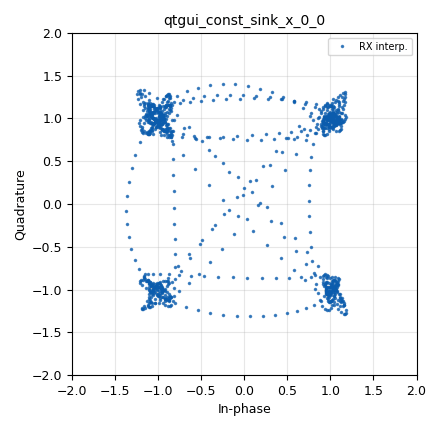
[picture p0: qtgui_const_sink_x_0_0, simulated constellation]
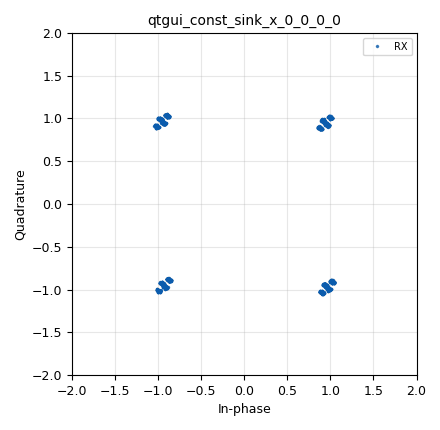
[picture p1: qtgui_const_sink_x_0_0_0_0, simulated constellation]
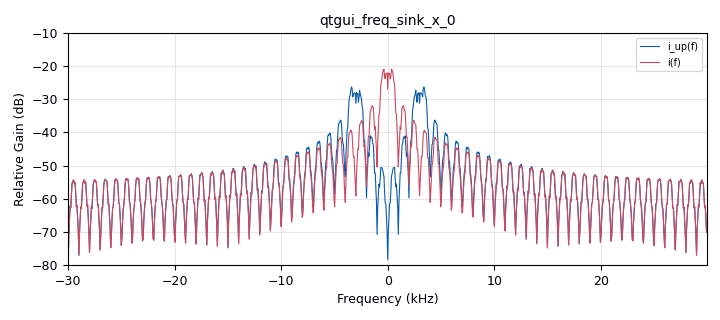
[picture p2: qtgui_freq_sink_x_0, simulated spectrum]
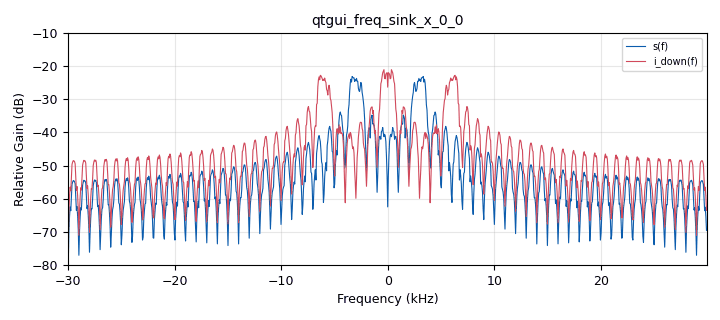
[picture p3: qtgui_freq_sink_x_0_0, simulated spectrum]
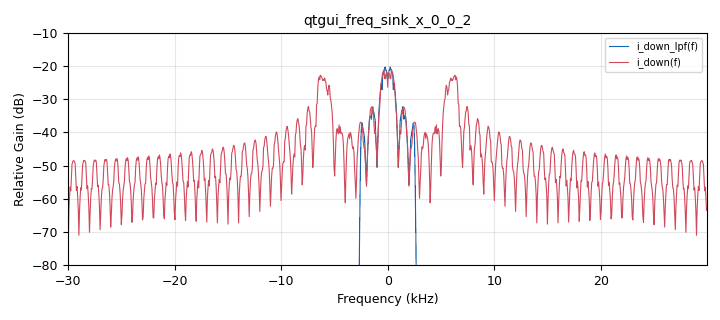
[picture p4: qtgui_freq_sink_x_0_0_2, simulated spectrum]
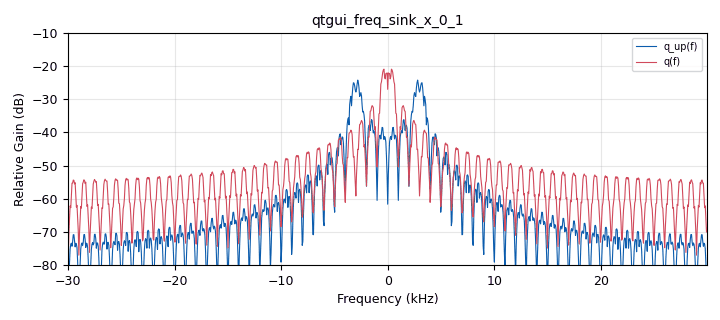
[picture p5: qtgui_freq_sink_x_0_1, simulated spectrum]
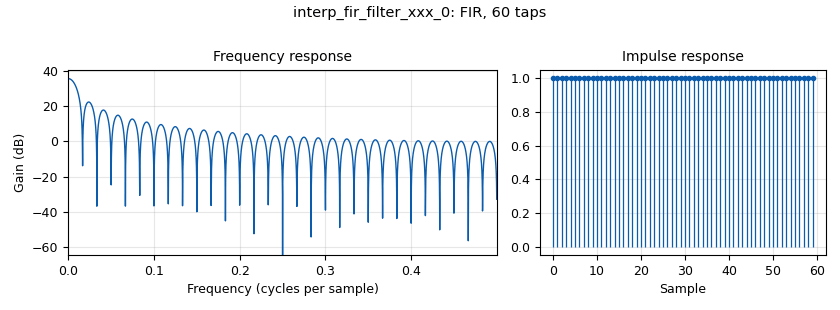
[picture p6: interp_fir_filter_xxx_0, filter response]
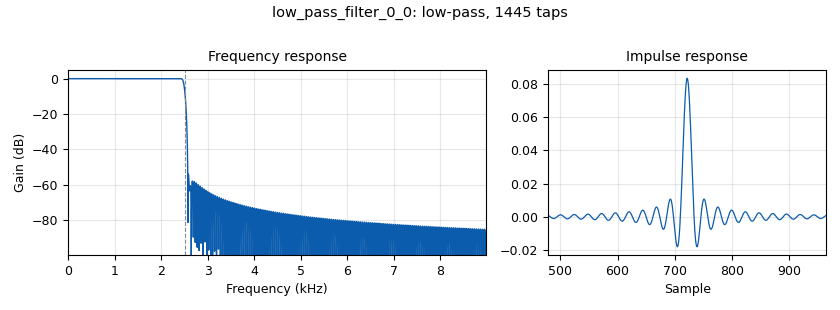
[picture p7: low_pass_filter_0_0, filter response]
<?xml version='1.0' encoding='utf-8'?>
<?grc format='1' created='3.7.11'?>
<flow_graph>
<block>
<key>options</key>
<param><key>id</key><value>top_block</value></param>
<param><key>generate_options</key><value>qt_gui</value></param>
<param><key>title</key><value>Complex envelope modem</value></param>
</block>
<block>
<key>variable_qtgui_range</key>
<param><key>id</key><value>delay_samples</value></param>
<param><key>value</key><value>12</value></param>
<param><key>orient</key><value>Qt.Horizontal</value></param>
<param><key>start</key><value>-200</value></param>
<param><key>step</key><value>1</value></param>
<param><key>stop</key><value>200</value></param>
<param><key>rangeType</key><value>int</value></param>
</block>
<block>
<key>variable_qtgui_range</key>
<param><key>id</key><value>f_cutoff</value></param>
<param><key>value</key><value>2500</value></param>
<param><key>orient</key><value>Qt.Horizontal</value></param>
<param><key>start</key><value>0</value></param>
<param><key>step</key><value>1</value></param>
<param><key>stop</key><value>10000</value></param>
</block>
<block>
<key>variable_qtgui_range</key>
<param><key>id</key><value>fc</value></param>
<param><key>value</key><value>3000</value></param>
<param><key>orient</key><value>Qt.Horizontal</value></param>
<param><key>start</key><value>0</value></param>
<param><key>step</key><value>1</value></param>
<param><key>stop</key><value>20000</value></param>
</block>
<block>
<key>variable_qtgui_range</key>
<param><key>id</key><value>noise_amplitude</value></param>
<param><key>value</key><value>0.1</value></param>
<param><key>label</key><value>Noise amplitude</value></param>
<param><key>orient</key><value>Qt.Horizontal</value></param>
<param><key>start</key><value>0</value></param>
<param><key>step</key><value>0.01</value></param>
<param><key>stop</key><value>1</value></param>
</block>
<block>
<key>variable</key>
<param><key>id</key><value>samp_rate</value></param>
<param><key>value</key><value>60000</value></param>
</block>
<block>
<key>variable_low_pass_filter_taps</key>
<param><key>id</key><value>variable_low_pass_filter_taps_0</value></param>
<param><key>cutoff_freq</key><value>f_cutoff</value></param>
<param><key>_enabled</key><value>0</value></param>
<param><key>gain</key><value>1.0</value></param>
<param><key>samp_rate</key><value>samp_rate</value></param>
<param><key>width</key><value>100</value></param>
<param><key>win</key><value>firdes.WIN_HAMMING</value></param>
</block>
<block>
<key>analog_const_source_x</key>
<param><key>id</key><value>analog_const_source_x_0</value></param>
<param><key>const</key><value>60</value></param>
<param><key>type</key><value>float</value></param>
</block>
<block>
<key>analog_random_source_x</key>
<param><key>id</key><value>analog_random_source_x_0</value></param>
<param><key>max</key><value>4</value></param>
<param><key>min</key><value>0</value></param>
<param><key>num_samps</key><value>1024*1</value></param>
<param><key>type</key><value>int</value></param>
<param><key>repeat</key><value>True</value></param>
</block>
<block>
<key>analog_sig_source_x</key>
<param><key>id</key><value>analog_sig_source_x_0</value></param>
<param><key>amp</key><value>1</value></param>
<param><key>freq</key><value>fc</value></param>
<param><key>offset</key><value>0</value></param>
<param><key>type</key><value>float</value></param>
<param><key>samp_rate</key><value>samp_rate</value></param>
<param><key>waveform</key><value>analog.GR_COS_WAVE</value></param>
</block>
<block>
<key>analog_sig_source_x</key>
<param><key>id</key><value>analog_sig_source_x_0_0</value></param>
<param><key>amp</key><value>-1</value></param>
<param><key>freq</key><value>fc</value></param>
<param><key>offset</key><value>0</value></param>
<param><key>type</key><value>float</value></param>
<param><key>samp_rate</key><value>samp_rate</value></param>
<param><key>waveform</key><value>analog.GR_SIN_WAVE</value></param>
</block>
<block>
<key>analog_sig_source_x</key>
<param><key>id</key><value>analog_sig_source_x_0_0_0</value></param>
<param><key>amp</key><value>-2</value></param>
<param><key>freq</key><value>fc</value></param>
<param><key>offset</key><value>0</value></param>
<param><key>type</key><value>float</value></param>
<param><key>samp_rate</key><value>samp_rate</value></param>
<param><key>waveform</key><value>analog.GR_SIN_WAVE</value></param>
</block>
<block>
<key>analog_sig_source_x</key>
<param><key>id</key><value>analog_sig_source_x_0_1</value></param>
<param><key>amp</key><value>2</value></param>
<param><key>freq</key><value>fc</value></param>
<param><key>offset</key><value>0</value></param>
<param><key>type</key><value>float</value></param>
<param><key>samp_rate</key><value>samp_rate</value></param>
<param><key>waveform</key><value>analog.GR_COS_WAVE</value></param>
</block>
<block>
<key>blocks_abs_xx</key>
<param><key>id</key><value>blocks_abs_xx_0</value></param>
<param><key>_enabled</key><value>2</value></param>
<param><key>type</key><value>float</value></param>
</block>
<block>
<key>blocks_abs_xx</key>
<param><key>id</key><value>blocks_abs_xx_0_0</value></param>
<param><key>_enabled</key><value>2</value></param>
<param><key>type</key><value>float</value></param>
</block>
<block>
<key>blocks_abs_xx</key>
<param><key>id</key><value>blocks_abs_xx_0_0_0</value></param>
<param><key>_enabled</key><value>2</value></param>
<param><key>type</key><value>float</value></param>
</block>
<block>
<key>blocks_abs_xx</key>
<param><key>id</key><value>blocks_abs_xx_0_1</value></param>
<param><key>_enabled</key><value>2</value></param>
<param><key>type</key><value>float</value></param>
</block>
<block>
<key>blocks_add_xx</key>
<param><key>id</key><value>blocks_add_xx_1</value></param>
<param><key>type</key><value>float</value></param>
</block>
<block>
<key>blocks_add_xx</key>
<param><key>id</key><value>blocks_add_xx_1_0</value></param>
<param><key>type</key><value>float</value></param>
</block>
<block>
<key>blocks_add_xx</key>
<param><key>id</key><value>blocks_add_xx_1_0_0</value></param>
<param><key>type</key><value>float</value></param>
</block>
<block>
<key>blocks_add_xx</key>
<param><key>id</key><value>blocks_add_xx_1_0_0_0</value></param>
<param><key>type</key><value>float</value></param>
</block>
<block>
<key>blocks_add_xx</key>
<param><key>id</key><value>blocks_add_xx_1_0_0_1</value></param>
<param><key>type</key><value>float</value></param>
</block>
<block>
<key>blocks_argmax_xx</key>
<param><key>id</key><value>blocks_argmax_xx_0</value></param>
<param><key>type</key><value>float</value></param>
<param><key>num_inputs</key><value>4</value></param>
</block>
<block>
<key>blocks_complex_to_float</key>
<param><key>id</key><value>blocks_complex_to_float_0</value></param>
</block>
<block>
<key>blocks_complex_to_float</key>
<param><key>id</key><value>blocks_complex_to_float_0_0_0</value></param>
</block>
<block>
<key>blocks_complex_to_real</key>
<param><key>id</key><value>blocks_complex_to_real_0</value></param>
</block>
<block>
<key>blocks_complex_to_real</key>
<param><key>id</key><value>blocks_complex_to_real_0_0</value></param>
</block>
<block>
<key>blocks_complex_to_real</key>
<param><key>id</key><value>blocks_complex_to_real_0_1</value></param>
</block>
<block>
<key>blocks_divide_xx</key>
<param><key>id</key><value>blocks_divide_xx_0</value></param>
<param><key>type</key><value>float</value></param>
</block>
<block>
<key>blocks_divide_xx</key>
<param><key>id</key><value>blocks_divide_xx_0_0</value></param>
<param><key>type</key><value>float</value></param>
</block>
<block>
<key>blocks_float_to_complex</key>
<param><key>id</key><value>blocks_float_to_complex_0</value></param>
</block>
<block>
<key>blocks_float_to_complex</key>
<param><key>id</key><value>blocks_float_to_complex_0_0_0_0_0</value></param>
</block>
<block>
<key>blocks_int_to_float</key>
<param><key>id</key><value>blocks_int_to_float_0</value></param>
<param><key>scale</key><value>1</value></param>
</block>
<block>
<key>blocks_int_to_float</key>
<param><key>id</key><value>blocks_int_to_float_0_0</value></param>
<param><key>scale</key><value>1</value></param>
</block>
<block>
<key>blocks_integrate_xx</key>
<param><key>id</key><value>blocks_integrate_xx_0</value></param>
<param><key>decim</key><value>60</value></param>
<param><key>type</key><value>complex</value></param>
</block>
<block>
<key>blocks_integrate_xx</key>
<param><key>id</key><value>blocks_integrate_xx_0_0</value></param>
<param><key>decim</key><value>60</value></param>
<param><key>type</key><value>complex</value></param>
</block>
<block>
<key>blocks_integrate_xx</key>
<param><key>id</key><value>blocks_integrate_xx_0_1_0</value></param>
<param><key>decim</key><value>60</value></param>
<param><key>type</key><value>float</value></param>
</block>
<block>
<key>blocks_integrate_xx</key>
<param><key>id</key><value>blocks_integrate_xx_0_1_0_0</value></param>
<param><key>decim</key><value>60</value></param>
<param><key>type</key><value>float</value></param>
</block>
<block>
<key>blocks_multiply_const_vxx</key>
<param><key>id</key><value>blocks_multiply_const_vxx_0</value></param>
<param><key>const</key><value>0+1j</value></param>
<param><key>type</key><value>complex</value></param>
</block>
<block>
<key>blocks_multiply_const_vxx</key>
<param><key>id</key><value>blocks_multiply_const_vxx_1</value></param>
<param><key>const</key><value>-1</value></param>
<param><key>type</key><value>float</value></param>
</block>
<block>
<key>blocks_multiply_const_vxx</key>
<param><key>id</key><value>blocks_multiply_const_vxx_1_0</value></param>
<param><key>const</key><value>-1</value></param>
<param><key>type</key><value>float</value></param>
</block>
<block>
<key>blocks_multiply_const_vxx</key>
<param><key>id</key><value>blocks_multiply_const_vxx_1_1</value></param>
<param><key>const</key><value>-1</value></param>
<param><key>type</key><value>float</value></param>
</block>
<block>
<key>blocks_multiply_const_vxx</key>
<param><key>id</key><value>blocks_multiply_const_vxx_1_1_0</value></param>
<param><key>const</key><value>-1</value></param>
<param><key>type</key><value>float</value></param>
</block>
<block>
<key>blocks_multiply_const_vxx</key>
<param><key>id</key><value>blocks_multiply_const_vxx_1_2</value></param>
<param><key>const</key><value>1</value></param>
<param><key>type</key><value>float</value></param>
</block>
<block>
<key>blocks_multiply_const_vxx</key>
<param><key>id</key><value>blocks_multiply_const_vxx_1_2_0</value></param>
<param><key>const</key><value>1</value></param>
<param><key>type</key><value>float</value></param>
</block>
<block>
<key>blocks_multiply_const_vxx</key>
<param><key>id</key><value>blocks_multiply_const_vxx_1_2_0_0</value></param>
<param><key>const</key><value>1</value></param>
<param><key>type</key><value>float</value></param>
</block>
<block>
<key>blocks_multiply_const_vxx</key>
<param><key>id</key><value>blocks_multiply_const_vxx_1_2_0_1</value></param>
<param><key>const</key><value>1</value></param>
<param><key>type</key><value>float</value></param>
</block>
<block>
<key>blocks_multiply_xx</key>
<param><key>id</key><value>blocks_multiply_xx_1_2</value></param>
<param><key>type</key><value>float</value></param>
</block>
<block>
<key>blocks_multiply_xx</key>
<param><key>id</key><value>blocks_multiply_xx_1_2_0</value></param>
<param><key>type</key><value>float</value></param>
</block>
<block>
<key>blocks_multiply_xx</key>
<param><key>id</key><value>blocks_multiply_xx_1_2_0_0</value></param>
<param><key>type</key><value>float</value></param>
</block>
<block>
<key>blocks_multiply_xx</key>
<param><key>id</key><value>blocks_multiply_xx_1_2_1</value></param>
<param><key>type</key><value>float</value></param>
</block>
<block>
<key>blocks_null_sink</key>
<param><key>id</key><value>blocks_null_sink_0</value></param>
<param><key>bus_conns</key><value>[[0,],]</value></param>
<param><key>type</key><value>short</value></param>
</block>
<block>
<key>blocks_null_sink</key>
<param><key>id</key><value>blocks_null_sink_1</value></param>
<param><key>bus_conns</key><value>[[0,],]</value></param>
<param><key>_enabled</key><value>0</value></param>
<param><key>type</key><value>complex</value></param>
</block>
<block>
<key>blocks_null_source</key>
<param><key>id</key><value>blocks_null_source_0</value></param>
<param><key>bus_conns</key><value>[[0,],]</value></param>
<param><key>_enabled</key><value>0</value></param>
<param><key>type</key><value>complex</value></param>
</block>
<block>
<key>blocks_short_to_float</key>
<param><key>id</key><value>blocks_short_to_float_0</value></param>
<param><key>scale</key><value>1</value></param>
</block>
<block>
<key>blocks_throttle</key>
<param><key>id</key><value>blocks_throttle_0</value></param>
<param><key>samples_per_second</key><value>samp_rate</value></param>
<param><key>type</key><value>int</value></param>
</block>
<block>
<key>blocks_delay</key>
<param><key>id</key><value>delay</value></param>
<param><key>delay</key><value>delay_samples</value></param>
<param><key>type</key><value>complex</value></param>
</block>
<block>
<key>blocks_delay</key>
<param><key>id</key><value>delay_0</value></param>
<param><key>delay</key><value>delay_samples</value></param>
<param><key>type</key><value>int</value></param>
</block>
<block>
<key>digital_chunks_to_symbols_xx</key>
<param><key>id</key><value>digital_chunks_to_symbols_xx_0</value></param>
<param><key>dimension</key><value>1</value></param>
<param><key>in_type</key><value>int</value></param>
<param><key>out_type</key><value>complex</value></param>
<param><key>symbol_table</key><value>[1+1j, 1-1j, -1+1j, -1-1j]</value></param>
</block>
<block>
<key>digital_chunks_to_symbols_xx</key>
<param><key>id</key><value>digital_chunks_to_symbols_xx_0_0</value></param>
<param><key>dimension</key><value>1</value></param>
<param><key>in_type</key><value>short</value></param>
<param><key>out_type</key><value>complex</value></param>
<param><key>symbol_table</key><value>[-1+1j, -1-1j,1+1j, 1-1j]</value></param>
</block>
<block>
<key>epy_block</key>
<param><key>id</key><value>epy_block_0</value></param>
<param><key>_source_code</key><value>"""
Embedded Python Blocks:

Each time this file is saved, GRC will instantiate the first class it finds
to get ports and parameters of your block. The arguments to __init__  will
be the parameters. All of them are required to have default values!
"""

import numpy as np
from gnuradio import gr


class blk(gr.sync_block):  # other base classes are basic_block, decim_block, interp_block
    """Embedded Python Block example - a simple multiply const"""

    def __init__(self, example_param=(1,2,3)):  # only default arguments here
        """arguments to this function show up as parameters in GRC"""
        gr.sync_block.__init__(
            self,
            name='Embedded Python Block',   # will show up in GRC
            in_sig=[np.complex64],
            out_sig=[np.complex64]
        )
        # if an attribute with the same name as a parameter is found,
        # a callback is registered (properties work, too).
        self.example_param = example_param
        print(example_param)
        print(len(example_param))
        print(type(example_param))

    def work(self, input_items, output_items):
        """example: multiply with constant"""
        output_items[0][:] = input_items[0]
        return len(output_items[0])
</value></param>
<param><key>_enabled</key><value>0</value></param>
<param><key>example_param</key><value>variable_low_pass_filter_taps_0</value></param>
</block>
<block>
<key>epy_block</key>
<param><key>id</key><value>epy_block_1</value></param>
<param><key>_source_code</key><value>"""
Embedded Python Blocks:

Each time this file is saved, GRC will instantiate the first class it finds
to get ports and parameters of your block. The arguments to __init__  will
be the parameters. All of them are required to have default values!
"""

import numpy as np
from gnuradio import gr


class blk(gr.sync_block):  # other base classes are basic_block, decim_block, interp_block
    """Embedded Python Block example - a simple multiply const"""

    def __init__(self, example_param=1.0):  # only default arguments here
        """arguments to this function show up as parameters in GRC"""
        gr.sync_block.__init__(
            self,
            name='Embedded Python Block',   # will show up in GRC
            in_sig=[np.complex64],
            out_sig=[np.complex64]
        )
        # if an attribute with the same name as a parameter is found,
        # a callback is registered (properties work, too).
        self.example_param = example_param

    def work(self, input_items, output_items):
        """example: multiply with constant"""
        output_items[0][:] = np.sqrt( np.square(np.real(input_items[0])) + np.square(np.imag(input_items[0])) )
        return len(output_items[0])
</value></param>
<param><key>_enabled</key><value>0</value></param>
<param><key>example_param</key><value>1.0</value></param>
</block>
<block>
<key>interp_fir_filter_xxx</key>
<param><key>id</key><value>interp_fir_filter_xxx_0</value></param>
<param><key>comment</key><value>BW = fs / interpolating_factor = 60k / 60 = 1k</value></param>
<param><key>interp</key><value>60</value></param>
<param><key>taps</key><value>[1, 1, 1, 1, 1, 1, 1, 1, 1, 1, 1, 1, 1, 1, 1, 1, 1, 1, 1, 1, 1, 1, 1, 1, 1, 1, 1, 1, 1, 1, 1, 1, 1, 1, 1, 1, 1, 1, 1, 1, 1, 1, 1, 1, 1, 1, 1, 1, 1, 1, 1, 1, 1, 1, 1, 1, 1, 1, 1, 1]</value></param>
<param><key>type</key><value>ccc</value></param>
</block>
<block>
<key>low_pass_filter</key>
<param><key>id</key><value>low_pass_filter_0_0</value></param>
<param><key>cutoff_freq</key><value>f_cutoff</value></param>
<param><key>decim</key><value>1</value></param>
<param><key>type</key><value>fir_filter_fff</value></param>
<param><key>gain</key><value>1</value></param>
<param><key>samp_rate</key><value>samp_rate</value></param>
<param><key>width</key><value>100</value></param>
<param><key>win</key><value>firdes.WIN_HAMMING</value></param>
</block>
<block>
<key>low_pass_filter</key>
<param><key>id</key><value>low_pass_filter_0_0_0</value></param>
<param><key>cutoff_freq</key><value>f_cutoff</value></param>
<param><key>decim</key><value>1</value></param>
<param><key>type</key><value>fir_filter_fff</value></param>
<param><key>gain</key><value>1</value></param>
<param><key>samp_rate</key><value>samp_rate</value></param>
<param><key>width</key><value>100</value></param>
<param><key>win</key><value>firdes.WIN_HAMMING</value></param>
</block>
<block>
<key>qtgui_const_sink_x</key>
<param><key>id</key><value>qtgui_const_sink_x_0_0</value></param>
<param><key>gui_hint</key><value>4,0</value></param>
<param><key>grid</key><value>True</value></param>
<param><key>label1</key><value>RX interp.</value></param>
<param><key>size</key><value>1024</value></param>
<param><key>type</key><value>complex</value></param>
</block>
<block>
<key>qtgui_const_sink_x</key>
<param><key>id</key><value>qtgui_const_sink_x_0_0_0</value></param>
<param><key>_enabled</key><value>0</value></param>
<param><key>gui_hint</key><value>4,1</value></param>
<param><key>grid</key><value>True</value></param>
<param><key>label1</key><value>RX signal</value></param>
<param><key>size</key><value>1024</value></param>
<param><key>type</key><value>complex</value></param>
</block>
<block>
<key>qtgui_const_sink_x</key>
<param><key>id</key><value>qtgui_const_sink_x_0_0_0_0</value></param>
<param><key>gui_hint</key><value>4,1</value></param>
<param><key>grid</key><value>True</value></param>
<param><key>label1</key><value>RX</value></param>
<param><key>size</key><value>1024</value></param>
<param><key>type</key><value>complex</value></param>
</block>
<block>
<key>qtgui_freq_sink_x</key>
<param><key>id</key><value>qtgui_freq_sink_x_0</value></param>
<param><key>average</key><value>0.05</value></param>
<param><key>bw</key><value>samp_rate</value></param>
<param><key>fc</key><value>0</value></param>
<param><key>fftsize</key><value>1024</value></param>
<param><key>gui_hint</key><value>1,0</value></param>
<param><key>grid</key><value>True</value></param>
<param><key>label1</key><value>i_up(f)</value></param>
<param><key>label2</key><value>i(f)</value></param>
<param><key>nconnections</key><value>2</value></param>
<param><key>showports</key><value>True</value></param>
<param><key>type</key><value>float</value></param>
<param><key>wintype</key><value>firdes.WIN_BLACKMAN_hARRIS</value></param>
<param><key>ymax</key><value>-10</value></param>
<param><key>ymin</key><value>-80</value></param>
</block>
<block>
<key>qtgui_freq_sink_x</key>
<param><key>id</key><value>qtgui_freq_sink_x_0_0</value></param>
<param><key>average</key><value>0.05</value></param>
<param><key>bw</key><value>samp_rate</value></param>
<param><key>fc</key><value>0</value></param>
<param><key>fftsize</key><value>1024</value></param>
<param><key>gui_hint</key><value>3,0</value></param>
<param><key>grid</key><value>True</value></param>
<param><key>label1</key><value>s(f)</value></param>
<param><key>label2</key><value>i_down(f)</value></param>
<param><key>nconnections</key><value>2</value></param>
<param><key>showports</key><value>True</value></param>
<param><key>type</key><value>float</value></param>
<param><key>wintype</key><value>firdes.WIN_BLACKMAN_hARRIS</value></param>
<param><key>ymax</key><value>-10</value></param>
<param><key>ymin</key><value>-80</value></param>
</block>
<block>
<key>qtgui_freq_sink_x</key>
<param><key>id</key><value>qtgui_freq_sink_x_0_0_1</value></param>
<param><key>average</key><value>0.05</value></param>
<param><key>bw</key><value>samp_rate</value></param>
<param><key>fc</key><value>0</value></param>
<param><key>_enabled</key><value>0</value></param>
<param><key>fftsize</key><value>1024</value></param>
<param><key>gui_hint</key><value>2,1</value></param>
<param><key>grid</key><value>True</value></param>
<param><key>showports</key><value>True</value></param>
<param><key>type</key><value>complex</value></param>
<param><key>wintype</key><value>firdes.WIN_BLACKMAN_hARRIS</value></param>
<param><key>ymax</key><value>-10</value></param>
<param><key>ymin</key><value>-70</value></param>
</block>
<block>
<key>qtgui_freq_sink_x</key>
<param><key>id</key><value>qtgui_freq_sink_x_0_0_2</value></param>
<param><key>average</key><value>0.05</value></param>
<param><key>bw</key><value>samp_rate</value></param>
<param><key>fc</key><value>0</value></param>
<param><key>fftsize</key><value>1024</value></param>
<param><key>gui_hint</key><value>3,1</value></param>
<param><key>grid</key><value>True</value></param>
<param><key>label1</key><value>i_down_lpf(f)</value></param>
<param><key>label2</key><value>i_down(f)</value></param>
<param><key>nconnections</key><value>2</value></param>
<param><key>showports</key><value>True</value></param>
<param><key>type</key><value>float</value></param>
<param><key>wintype</key><value>firdes.WIN_BLACKMAN_hARRIS</value></param>
<param><key>ymax</key><value>-10</value></param>
<param><key>ymin</key><value>-80</value></param>
</block>
<block>
<key>qtgui_freq_sink_x</key>
<param><key>id</key><value>qtgui_freq_sink_x_0_1</value></param>
<param><key>average</key><value>0.05</value></param>
<param><key>bw</key><value>samp_rate</value></param>
<param><key>fc</key><value>0</value></param>
<param><key>fftsize</key><value>1024</value></param>
<param><key>gui_hint</key><value>1,1</value></param>
<param><key>grid</key><value>True</value></param>
<param><key>label1</key><value>q_up(f)</value></param>
<param><key>label2</key><value>q(f)</value></param>
<param><key>nconnections</key><value>2</value></param>
<param><key>showports</key><value>True</value></param>
<param><key>type</key><value>float</value></param>
<param><key>wintype</key><value>firdes.WIN_BLACKMAN_hARRIS</value></param>
<param><key>ymax</key><value>-10</value></param>
<param><key>ymin</key><value>-80</value></param>
</block>
<block>
<key>qtgui_time_sink_x</key>
<param><key>id</key><value>qtgui_time_sink_x_0</value></param>
<param><key>autoscale</key><value>True</value></param>
<param><key>gui_hint</key><value>0,0</value></param>
<param><key>grid</key><value>True</value></param>
<param><key>color1</key><value>"blue"</value></param>
<param><key>label1</key><value>i_up(t)</value></param>
<param><key>width1</key><value>2</value></param>
<param><key>color2</key><value>"red"</value></param>
<param><key>label2</key><value>i(t)</value></param>
<param><key>width2</key><value>3</value></param>
<param><key>nconnections</key><value>2</value></param>
<param><key>size</key><value>1024</value></param>
<param><key>srate</key><value>samp_rate</value></param>
<param><key>type</key><value>float</value></param>
</block>
<block>
<key>qtgui_time_sink_x</key>
<param><key>id</key><value>qtgui_time_sink_x_0_0</value></param>
<param><key>autoscale</key><value>True</value></param>
<param><key>_enabled</key><value>0</value></param>
<param><key>gui_hint</key><value>2,0</value></param>
<param><key>grid</key><value>True</value></param>
<param><key>color1</key><value>"blue"</value></param>
<param><key>label1</key><value></value></param>
<param><key>width1</key><value>2</value></param>
<param><key>size</key><value>1024</value></param>
<param><key>srate</key><value>samp_rate</value></param>
<param><key>type</key><value>float</value></param>
</block>
<block>
<key>qtgui_time_sink_x</key>
<param><key>id</key><value>qtgui_time_sink_x_0_0_0_0_0_2</value></param>
<param><key>grid</key><value>True</value></param>
<param><key>color1</key><value>"blue"</value></param>
<param><key>label1</key><value></value></param>
<param><key>marker1</key><value>0</value></param>
<param><key>name</key><value>Index</value></param>
<param><key>size</key><value>32</value></param>
<param><key>srate</key><value>samp_rate</value></param>
<param><key>type</key><value>float</value></param>
<param><key>ymax</key><value>3</value></param>
<param><key>ymin</key><value>0</value></param>
</block>
<block>
<key>qtgui_time_sink_x</key>
<param><key>id</key><value>qtgui_time_sink_x_0_1</value></param>
<param><key>gui_hint</key><value>5,0,1,2</value></param>
<param><key>color1</key><value>"blue"</value></param>
<param><key>label1</key><value>TX data</value></param>
<param><key>marker1</key><value>0</value></param>
<param><key>color2</key><value>"red"</value></param>
<param><key>label2</key><value>RX data</value></param>
<param><key>marker2</key><value>9</value></param>
<param><key>nconnections</key><value>2</value></param>
<param><key>size</key><value>200</value></param>
<param><key>srate</key><value>samp_rate</value></param>
<param><key>type</key><value>float</value></param>
<param><key>ymax</key><value>4</value></param>
</block>
<block>
<key>qtgui_time_sink_x</key>
<param><key>id</key><value>qtgui_time_sink_x_0_2</value></param>
<param><key>autoscale</key><value>True</value></param>
<param><key>gui_hint</key><value>0,1</value></param>
<param><key>grid</key><value>True</value></param>
<param><key>color1</key><value>"blue"</value></param>
<param><key>label1</key><value>q_up(t)</value></param>
<param><key>width1</key><value>2</value></param>
<param><key>color2</key><value>"red"</value></param>
<param><key>label2</key><value>q(t)</value></param>
<param><key>width2</key><value>3</value></param>
<param><key>nconnections</key><value>2</value></param>
<param><key>size</key><value>1024</value></param>
<param><key>srate</key><value>samp_rate</value></param>
<param><key>type</key><value>float</value></param>
</block>
<block>
<key>qtgui_time_sink_x</key>
<param><key>id</key><value>qtgui_time_sink_x_1</value></param>
<param><key>autoscale</key><value>True</value></param>
<param><key>grid</key><value>True</value></param>
<param><key>color1</key><value>"blue"</value></param>
<param><key>label1</key><value></value></param>
<param><key>marker1</key><value>0</value></param>
<param><key>color2</key><value>"red"</value></param>
<param><key>label2</key><value></value></param>
<param><key>marker2</key><value>0</value></param>
<param><key>color3</key><value>"green"</value></param>
<param><key>label3</key><value></value></param>
<param><key>marker3</key><value>9</value></param>
<param><key>color4</key><value>"black"</value></param>
<param><key>label4</key><value></value></param>
<param><key>marker4</key><value>9</value></param>
<param><key>nconnections</key><value>2</value></param>
<param><key>size</key><value>32</value></param>
<param><key>srate</key><value>samp_rate</value></param>
<param><key>type</key><value>complex</value></param>
</block>
<block>
<key>t126_demapper</key>
<param><key>id</key><value>t126_demapper_0</value></param>
</block>
<block>
<key>virtual_sink</key>
<param><key>id</key><value>virtual_sink_0_0_0</value></param>
<param><key>stream_id</key><value>tx_symbols</value></param>
</block>
<block>
<key>virtual_sink</key>
<param><key>id</key><value>virtual_sink_0_0_0_0</value></param>
<param><key>stream_id</key><value>ref_symbols</value></param>
</block>
<block>
<key>virtual_sink</key>
<param><key>id</key><value>virtual_sink_0_1</value></param>
<param><key>stream_id</key><value>BB_signal</value></param>
</block>
<block>
<key>virtual_sink</key>
<param><key>id</key><value>virtual_sink_0_1_0</value></param>
<param><key>stream_id</key><value>BP_signal</value></param>
</block>
<block>
<key>virtual_sink</key>
<param><key>id</key><value>virtual_sink_0_1_0_0_0</value></param>
<param><key>stream_id</key><value>v</value></param>
</block>
<block>
<key>virtual_sink</key>
<param><key>id</key><value>virtual_sink_0_1_0_0_0_0</value></param>
<param><key>stream_id</key><value>I_down</value></param>
</block>
<block>
<key>virtual_sink</key>
<param><key>id</key><value>virtual_sink_0_1_0_0_0_0_0</value></param>
<param><key>stream_id</key><value>Q_down</value></param>
</block>
<block>
<key>virtual_sink</key>
<param><key>id</key><value>virtual_sink_0_1_0_0_0_0_1</value></param>
<param><key>stream_id</key><value>I_down_LP</value></param>
</block>
<block>
<key>virtual_sink</key>
<param><key>id</key><value>virtual_sink_0_1_0_0_0_0_1_0</value></param>
<param><key>stream_id</key><value>Q_down_LP</value></param>
</block>
<block>
<key>virtual_sink</key>
<param><key>id</key><value>virtual_sink_0_1_1</value></param>
<param><key>stream_id</key><value>BP_signal_I</value></param>
</block>
<block>
<key>virtual_sink</key>
<param><key>id</key><value>virtual_sink_0_1_1_0</value></param>
<param><key>stream_id</key><value>BP_signal_Q</value></param>
</block>
<block>
<key>virtual_sink</key>
<param><key>id</key><value>virtual_sink_0_2</value></param>
<param><key>stream_id</key><value>y1</value></param>
</block>
<block>
<key>virtual_sink</key>
<param><key>id</key><value>virtual_sink_0_2_0</value></param>
<param><key>stream_id</key><value>y2</value></param>
</block>
<block>
<key>virtual_sink</key>
<param><key>id</key><value>virtual_sink_0_2_0_0</value></param>
<param><key>stream_id</key><value>z2</value></param>
</block>
<block>
<key>virtual_sink</key>
<param><key>id</key><value>virtual_sink_0_2_0_0_0</value></param>
<param><key>stream_id</key><value>z4</value></param>
</block>
<block>
<key>virtual_sink</key>
<param><key>id</key><value>virtual_sink_0_2_1</value></param>
<param><key>stream_id</key><value>z1</value></param>
</block>
<block>
<key>virtual_sink</key>
<param><key>id</key><value>virtual_sink_0_2_1_0</value></param>
<param><key>stream_id</key><value>z3</value></param>
</block>
<block>
<key>virtual_source</key>
<param><key>id</key><value>virtual_source_0</value></param>
<param><key>stream_id</key><value>v</value></param>
</block>
<block>
<key>virtual_source</key>
<param><key>id</key><value>virtual_source_0_0</value></param>
<param><key>stream_id</key><value>v</value></param>
</block>
<block>
<key>virtual_source</key>
<param><key>id</key><value>virtual_source_0_1_0_0_0</value></param>
<param><key>stream_id</key><value>BP_signal</value></param>
</block>
<block>
<key>virtual_source</key>
<param><key>id</key><value>virtual_source_0_1_0_0_0_0</value></param>
<param><key>_enabled</key><value>0</value></param>
<param><key>stream_id</key><value>BP_signal</value></param>
</block>
<block>
<key>virtual_source</key>
<param><key>id</key><value>virtual_source_0_1_0_0_0_0_0</value></param>
<param><key>stream_id</key><value>BP_signal</value></param>
</block>
<block>
<key>virtual_source</key>
<param><key>id</key><value>virtual_source_0_1_0_0_0_1</value></param>
<param><key>stream_id</key><value>I_down</value></param>
</block>
<block>
<key>virtual_source</key>
<param><key>id</key><value>virtual_source_0_1_0_0_0_1_0</value></param>
<param><key>stream_id</key><value>I_down</value></param>
</block>
<block>
<key>virtual_source</key>
<param><key>id</key><value>virtual_source_0_1_0_0_0_1_0_0</value></param>
<param><key>stream_id</key><value>I_down_LP</value></param>
</block>
<block>
<key>virtual_source</key>
<param><key>id</key><value>virtual_source_0_1_1</value></param>
<param><key>stream_id</key><value>BB_signal</value></param>
</block>
<block>
<key>virtual_source</key>
<param><key>id</key><value>virtual_source_0_1_1_0</value></param>
<param><key>stream_id</key><value>BB_signal</value></param>
</block>
<block>
<key>virtual_source</key>
<param><key>id</key><value>virtual_source_0_1_1_0_0</value></param>
<param><key>_enabled</key><value>0</value></param>
<param><key>stream_id</key><value>BB_signal</value></param>
</block>
<block>
<key>virtual_source</key>
<param><key>id</key><value>virtual_source_0_1_1_1</value></param>
<param><key>stream_id</key><value>BP_signal_I</value></param>
</block>
<block>
<key>virtual_source</key>
<param><key>id</key><value>virtual_source_0_1_1_1_0</value></param>
<param><key>stream_id</key><value>BP_signal_Q</value></param>
</block>
<block>
<key>virtual_source</key>
<param><key>id</key><value>virtual_source_0_1_1_2</value></param>
<param><key>stream_id</key><value>ref_symbols</value></param>
</block>
<block>
<key>virtual_source</key>
<param><key>id</key><value>virtual_source_0_1_2</value></param>
<param><key>stream_id</key><value>v</value></param>
</block>
<block>
<key>virtual_source</key>
<param><key>id</key><value>virtual_source_0_2_0_0</value></param>
<param><key>stream_id</key><value>y2</value></param>
</block>
<block>
<key>virtual_source</key>
<param><key>id</key><value>virtual_source_0_2_0_0_0</value></param>
<param><key>stream_id</key><value>z2</value></param>
</block>
<block>
<key>virtual_source</key>
<param><key>id</key><value>virtual_source_0_2_0_0_0_0</value></param>
<param><key>stream_id</key><value>z4</value></param>
</block>
<block>
<key>virtual_source</key>
<param><key>id</key><value>virtual_source_0_2_0_0_1</value></param>
<param><key>stream_id</key><value>y2</value></param>
</block>
<block>
<key>virtual_source</key>
<param><key>id</key><value>virtual_source_0_2_0_0_2</value></param>
<param><key>stream_id</key><value>y2</value></param>
</block>
<block>
<key>virtual_source</key>
<param><key>id</key><value>virtual_source_0_2_0_0_3</value></param>
<param><key>stream_id</key><value>y2</value></param>
</block>
<block>
<key>virtual_source</key>
<param><key>id</key><value>virtual_source_0_2_1</value></param>
<param><key>stream_id</key><value>y1</value></param>
</block>
<block>
<key>virtual_source</key>
<param><key>id</key><value>virtual_source_0_2_1_0</value></param>
<param><key>stream_id</key><value>z1</value></param>
</block>
<block>
<key>virtual_source</key>
<param><key>id</key><value>virtual_source_0_2_1_0_0</value></param>
<param><key>stream_id</key><value>z3</value></param>
</block>
<block>
<key>virtual_source</key>
<param><key>id</key><value>virtual_source_0_2_1_1</value></param>
<param><key>stream_id</key><value>y1</value></param>
</block>
<block>
<key>virtual_source</key>
<param><key>id</key><value>virtual_source_0_2_1_2</value></param>
<param><key>stream_id</key><value>y1</value></param>
</block>
<block>
<key>virtual_source</key>
<param><key>id</key><value>virtual_source_0_2_1_3</value></param>
<param><key>stream_id</key><value>y1</value></param>
</block>
<block>
<key>virtual_source</key>
<param><key>id</key><value>virtual_source_1</value></param>
<param><key>stream_id</key><value>tx_symbols</value></param>
</block>
<connection><source_block_id>analog_const_source_x_0</source_block_id><sink_block_id>blocks_divide_xx_0</sink_block_id><source_key>0</source_key><sink_key>1</sink_key></connection>
<connection><source_block_id>analog_const_source_x_0</source_block_id><sink_block_id>blocks_divide_xx_0_0</sink_block_id><source_key>0</source_key><sink_key>1</sink_key></connection>
<connection><source_block_id>analog_random_source_x_0</source_block_id><sink_block_id>blocks_throttle_0</sink_block_id><source_key>0</source_key><sink_key>0</sink_key></connection>
<connection><source_block_id>analog_random_source_x_0</source_block_id><sink_block_id>virtual_sink_0_0_0_0</sink_block_id><source_key>0</source_key><sink_key>0</sink_key></connection>
<connection><source_block_id>analog_sig_source_x_0</source_block_id><sink_block_id>blocks_multiply_xx_1_2_0</sink_block_id><source_key>0</source_key><sink_key>0</sink_key></connection>
<connection><source_block_id>analog_sig_source_x_0_0</source_block_id><sink_block_id>blocks_multiply_xx_1_2</sink_block_id><source_key>0</source_key><sink_key>1</sink_key></connection>
<connection><source_block_id>analog_sig_source_x_0_0_0</source_block_id><sink_block_id>blocks_multiply_xx_1_2_1</sink_block_id><source_key>0</source_key><sink_key>1</sink_key></connection>
<connection><source_block_id>analog_sig_source_x_0_1</source_block_id><sink_block_id>blocks_multiply_xx_1_2_0_0</sink_block_id><source_key>0</source_key><sink_key>0</sink_key></connection>
<connection><source_block_id>blocks_abs_xx_0</source_block_id><sink_block_id>qtgui_freq_sink_x_0</sink_block_id><source_key>0</source_key><sink_key>0</sink_key></connection>
<connection><source_block_id>blocks_abs_xx_0_0</source_block_id><sink_block_id>qtgui_freq_sink_x_0</sink_block_id><source_key>0</source_key><sink_key>1</sink_key></connection>
<connection><source_block_id>blocks_abs_xx_0_0_0</source_block_id><sink_block_id>qtgui_freq_sink_x_0_0_2</sink_block_id><source_key>0</source_key><sink_key>0</sink_key></connection>
<connection><source_block_id>blocks_abs_xx_0_1</source_block_id><sink_block_id>qtgui_freq_sink_x_0_0_2</sink_block_id><source_key>0</source_key><sink_key>1</sink_key></connection>
<connection><source_block_id>blocks_add_xx_1</source_block_id><sink_block_id>virtual_sink_0_1_0</sink_block_id><source_key>0</source_key><sink_key>0</sink_key></connection>
<connection><source_block_id>blocks_add_xx_1_0</source_block_id><sink_block_id>virtual_sink_0_2_0_0_0</sink_block_id><source_key>0</source_key><sink_key>0</sink_key></connection>
<connection><source_block_id>blocks_add_xx_1_0_0</source_block_id><sink_block_id>virtual_sink_0_2_1_0</sink_block_id><source_key>0</source_key><sink_key>0</sink_key></connection>
<connection><source_block_id>blocks_add_xx_1_0_0_0</source_block_id><sink_block_id>virtual_sink_0_2_1</sink_block_id><source_key>0</source_key><sink_key>0</sink_key></connection>
<connection><source_block_id>blocks_add_xx_1_0_0_1</source_block_id><sink_block_id>virtual_sink_0_2_0_0</sink_block_id><source_key>0</source_key><sink_key>0</sink_key></connection>
<connection><source_block_id>blocks_argmax_xx_0</source_block_id><sink_block_id>blocks_short_to_float_0</sink_block_id><source_key>1</source_key><sink_key>0</sink_key></connection>
<connection><source_block_id>blocks_argmax_xx_0</source_block_id><sink_block_id>digital_chunks_to_symbols_xx_0_0</sink_block_id><source_key>1</source_key><sink_key>0</sink_key></connection>
<connection><source_block_id>blocks_argmax_xx_0</source_block_id><sink_block_id>blocks_null_sink_0</sink_block_id><source_key>0</source_key><sink_key>0</sink_key></connection>
<connection><source_block_id>blocks_complex_to_float_0</source_block_id><sink_block_id>blocks_integrate_xx_0_1_0_0</sink_block_id><source_key>1</source_key><sink_key>0</sink_key></connection>
<connection><source_block_id>blocks_complex_to_float_0</source_block_id><sink_block_id>blocks_integrate_xx_0_1_0</sink_block_id><source_key>0</source_key><sink_key>0</sink_key></connection>
<connection><source_block_id>blocks_complex_to_float_0_0_0</source_block_id><sink_block_id>blocks_multiply_xx_1_2</sink_block_id><source_key>1</source_key><sink_key>0</sink_key></connection>
<connection><source_block_id>blocks_complex_to_float_0_0_0</source_block_id><sink_block_id>blocks_multiply_xx_1_2_0</sink_block_id><source_key>0</source_key><sink_key>1</sink_key></connection>
<connection><source_block_id>blocks_complex_to_real_0</source_block_id><sink_block_id>blocks_abs_xx_0_0</sink_block_id><source_key>0</source_key><sink_key>0</sink_key></connection>
<connection><source_block_id>blocks_complex_to_real_0</source_block_id><sink_block_id>qtgui_freq_sink_x_0_1</sink_block_id><source_key>0</source_key><sink_key>1</sink_key></connection>
<connection><source_block_id>blocks_complex_to_real_0</source_block_id><sink_block_id>qtgui_time_sink_x_0</sink_block_id><source_key>0</source_key><sink_key>1</sink_key></connection>
<connection><source_block_id>blocks_complex_to_real_0</source_block_id><sink_block_id>qtgui_time_sink_x_0_2</sink_block_id><source_key>0</source_key><sink_key>1</sink_key></connection>
<connection><source_block_id>blocks_complex_to_real_0_0</source_block_id><sink_block_id>virtual_sink_0_2_0</sink_block_id><source_key>0</source_key><sink_key>0</sink_key></connection>
<connection><source_block_id>blocks_complex_to_real_0_1</source_block_id><sink_block_id>virtual_sink_0_2</sink_block_id><source_key>0</source_key><sink_key>0</sink_key></connection>
<connection><source_block_id>blocks_divide_xx_0</source_block_id><sink_block_id>blocks_float_to_complex_0</sink_block_id><source_key>0</source_key><sink_key>0</sink_key></connection>
<connection><source_block_id>blocks_divide_xx_0_0</source_block_id><sink_block_id>blocks_float_to_complex_0</sink_block_id><source_key>0</source_key><sink_key>1</sink_key></connection>
<connection><source_block_id>blocks_float_to_complex_0</source_block_id><sink_block_id>qtgui_const_sink_x_0_0_0_0</sink_block_id><source_key>0</source_key><sink_key>0</sink_key></connection>
<connection><source_block_id>blocks_float_to_complex_0</source_block_id><sink_block_id>t126_demapper_0</sink_block_id><source_key>0</source_key><sink_key>0</sink_key></connection>
<connection><source_block_id>blocks_float_to_complex_0_0_0_0_0</source_block_id><sink_block_id>virtual_sink_0_1_0_0_0</sink_block_id><source_key>0</source_key><sink_key>0</sink_key></connection>
<connection><source_block_id>blocks_int_to_float_0</source_block_id><sink_block_id>qtgui_time_sink_x_0_1</sink_block_id><source_key>0</source_key><sink_key>0</sink_key></connection>
<connection><source_block_id>blocks_int_to_float_0_0</source_block_id><sink_block_id>qtgui_time_sink_x_0_1</sink_block_id><source_key>0</source_key><sink_key>1</sink_key></connection>
<connection><source_block_id>blocks_integrate_xx_0</source_block_id><sink_block_id>blocks_complex_to_real_0_1</sink_block_id><source_key>0</source_key><sink_key>0</sink_key></connection>
<connection><source_block_id>blocks_integrate_xx_0_0</source_block_id><sink_block_id>blocks_complex_to_real_0_0</sink_block_id><source_key>0</source_key><sink_key>0</sink_key></connection>
<connection><source_block_id>blocks_integrate_xx_0_1_0</source_block_id><sink_block_id>blocks_divide_xx_0</sink_block_id><source_key>0</source_key><sink_key>0</sink_key></connection>
<connection><source_block_id>blocks_integrate_xx_0_1_0_0</source_block_id><sink_block_id>blocks_divide_xx_0_0</sink_block_id><source_key>0</source_key><sink_key>0</sink_key></connection>
<connection><source_block_id>blocks_multiply_const_vxx_0</source_block_id><sink_block_id>blocks_integrate_xx_0_0</sink_block_id><source_key>0</source_key><sink_key>0</sink_key></connection>
<connection><source_block_id>blocks_multiply_const_vxx_1</source_block_id><sink_block_id>blocks_add_xx_1_0_0_1</sink_block_id><source_key>0</source_key><sink_key>0</sink_key></connection>
<connection><source_block_id>blocks_multiply_const_vxx_1_0</source_block_id><sink_block_id>blocks_add_xx_1_0_0</sink_block_id><source_key>0</source_key><sink_key>1</sink_key></connection>
<connection><source_block_id>blocks_multiply_const_vxx_1_1</source_block_id><sink_block_id>blocks_add_xx_1_0_0_0</sink_block_id><source_key>0</source_key><sink_key>0</sink_key></connection>
<connection><source_block_id>blocks_multiply_const_vxx_1_1_0</source_block_id><sink_block_id>blocks_add_xx_1_0_0_0</sink_block_id><source_key>0</source_key><sink_key>1</sink_key></connection>
<connection><source_block_id>blocks_multiply_const_vxx_1_2</source_block_id><sink_block_id>blocks_add_xx_1_0_0_1</sink_block_id><source_key>0</source_key><sink_key>1</sink_key></connection>
<connection><source_block_id>blocks_multiply_const_vxx_1_2_0</source_block_id><sink_block_id>blocks_add_xx_1_0_0</sink_block_id><source_key>0</source_key><sink_key>0</sink_key></connection>
<connection><source_block_id>blocks_multiply_const_vxx_1_2_0_0</source_block_id><sink_block_id>blocks_add_xx_1_0</sink_block_id><source_key>0</source_key><sink_key>0</sink_key></connection>
<connection><source_block_id>blocks_multiply_const_vxx_1_2_0_1</source_block_id><sink_block_id>blocks_add_xx_1_0</sink_block_id><source_key>0</source_key><sink_key>1</sink_key></connection>
<connection><source_block_id>blocks_multiply_xx_1_2</source_block_id><sink_block_id>blocks_add_xx_1</sink_block_id><source_key>0</source_key><sink_key>1</sink_key></connection>
<connection><source_block_id>blocks_multiply_xx_1_2</source_block_id><sink_block_id>virtual_sink_0_1_1_0</sink_block_id><source_key>0</source_key><sink_key>0</sink_key></connection>
<connection><source_block_id>blocks_multiply_xx_1_2_0</source_block_id><sink_block_id>blocks_add_xx_1</sink_block_id><source_key>0</source_key><sink_key>0</sink_key></connection>
<connection><source_block_id>blocks_multiply_xx_1_2_0</source_block_id><sink_block_id>virtual_sink_0_1_1</sink_block_id><source_key>0</source_key><sink_key>0</sink_key></connection>
<connection><source_block_id>blocks_multiply_xx_1_2_0_0</source_block_id><sink_block_id>low_pass_filter_0_0</sink_block_id><source_key>0</source_key><sink_key>0</sink_key></connection>
<connection><source_block_id>blocks_multiply_xx_1_2_0_0</source_block_id><sink_block_id>virtual_sink_0_1_0_0_0_0</sink_block_id><source_key>0</source_key><sink_key>0</sink_key></connection>
<connection><source_block_id>blocks_multiply_xx_1_2_1</source_block_id><sink_block_id>low_pass_filter_0_0_0</sink_block_id><source_key>0</source_key><sink_key>0</sink_key></connection>
<connection><source_block_id>blocks_multiply_xx_1_2_1</source_block_id><sink_block_id>virtual_sink_0_1_0_0_0_0_0</sink_block_id><source_key>0</source_key><sink_key>0</sink_key></connection>
<connection><source_block_id>blocks_null_source_0</source_block_id><sink_block_id>epy_block_0</sink_block_id><source_key>0</source_key><sink_key>0</sink_key></connection>
<connection><source_block_id>blocks_short_to_float_0</source_block_id><sink_block_id>qtgui_time_sink_x_0_0_0_0_0_2</sink_block_id><source_key>0</source_key><sink_key>0</sink_key></connection>
<connection><source_block_id>blocks_throttle_0</source_block_id><sink_block_id>digital_chunks_to_symbols_xx_0</sink_block_id><source_key>0</source_key><sink_key>0</sink_key></connection>
<connection><source_block_id>delay</source_block_id><sink_block_id>qtgui_time_sink_x_1</sink_block_id><source_key>0</source_key><sink_key>0</sink_key></connection>
<connection><source_block_id>delay_0</source_block_id><sink_block_id>blocks_int_to_float_0</sink_block_id><source_key>0</source_key><sink_key>0</sink_key></connection>
<connection><source_block_id>digital_chunks_to_symbols_xx_0</source_block_id><sink_block_id>interp_fir_filter_xxx_0</sink_block_id><source_key>0</source_key><sink_key>0</sink_key></connection>
<connection><source_block_id>digital_chunks_to_symbols_xx_0</source_block_id><sink_block_id>virtual_sink_0_0_0</sink_block_id><source_key>0</source_key><sink_key>0</sink_key></connection>
<connection><source_block_id>digital_chunks_to_symbols_xx_0_0</source_block_id><sink_block_id>qtgui_const_sink_x_0_0_0</sink_block_id><source_key>0</source_key><sink_key>0</sink_key></connection>
<connection><source_block_id>digital_chunks_to_symbols_xx_0_0</source_block_id><sink_block_id>qtgui_time_sink_x_1</sink_block_id><source_key>0</source_key><sink_key>1</sink_key></connection>
<connection><source_block_id>epy_block_0</source_block_id><sink_block_id>blocks_null_sink_1</sink_block_id><source_key>0</source_key><sink_key>0</sink_key></connection>
<connection><source_block_id>epy_block_1</source_block_id><sink_block_id>qtgui_freq_sink_x_0_0_1</sink_block_id><source_key>0</source_key><sink_key>0</sink_key></connection>
<connection><source_block_id>interp_fir_filter_xxx_0</source_block_id><sink_block_id>virtual_sink_0_1</sink_block_id><source_key>0</source_key><sink_key>0</sink_key></connection>
<connection><source_block_id>low_pass_filter_0_0</source_block_id><sink_block_id>blocks_float_to_complex_0_0_0_0_0</sink_block_id><source_key>0</source_key><sink_key>0</sink_key></connection>
<connection><source_block_id>low_pass_filter_0_0</source_block_id><sink_block_id>virtual_sink_0_1_0_0_0_0_1</sink_block_id><source_key>0</source_key><sink_key>0</sink_key></connection>
<connection><source_block_id>low_pass_filter_0_0_0</source_block_id><sink_block_id>blocks_float_to_complex_0_0_0_0_0</sink_block_id><source_key>0</source_key><sink_key>1</sink_key></connection>
<connection><source_block_id>low_pass_filter_0_0_0</source_block_id><sink_block_id>virtual_sink_0_1_0_0_0_0_1_0</sink_block_id><source_key>0</source_key><sink_key>0</sink_key></connection>
<connection><source_block_id>t126_demapper_0</source_block_id><sink_block_id>blocks_int_to_float_0_0</sink_block_id><source_key>0</source_key><sink_key>0</sink_key></connection>
<connection><source_block_id>virtual_source_0</source_block_id><sink_block_id>blocks_integrate_xx_0</sink_block_id><source_key>0</source_key><sink_key>0</sink_key></connection>
<connection><source_block_id>virtual_source_0</source_block_id><sink_block_id>blocks_multiply_const_vxx_0</sink_block_id><source_key>0</source_key><sink_key>0</sink_key></connection>
<connection><source_block_id>virtual_source_0_0</source_block_id><sink_block_id>blocks_complex_to_float_0</sink_block_id><source_key>0</source_key><sink_key>0</sink_key></connection>
<connection><source_block_id>virtual_source_0_1_0_0_0</source_block_id><sink_block_id>blocks_multiply_xx_1_2_0_0</sink_block_id><source_key>0</source_key><sink_key>1</sink_key></connection>
<connection><source_block_id>virtual_source_0_1_0_0_0</source_block_id><sink_block_id>blocks_multiply_xx_1_2_1</sink_block_id><source_key>0</source_key><sink_key>0</sink_key></connection>
<connection><source_block_id>virtual_source_0_1_0_0_0_0</source_block_id><sink_block_id>qtgui_time_sink_x_0_0</sink_block_id><source_key>0</source_key><sink_key>0</sink_key></connection>
<connection><source_block_id>virtual_source_0_1_0_0_0_0_0</source_block_id><sink_block_id>qtgui_freq_sink_x_0_0</sink_block_id><source_key>0</source_key><sink_key>0</sink_key></connection>
<connection><source_block_id>virtual_source_0_1_0_0_0_1</source_block_id><sink_block_id>qtgui_freq_sink_x_0_0</sink_block_id><source_key>0</source_key><sink_key>1</sink_key></connection>
<connection><source_block_id>virtual_source_0_1_0_0_0_1_0</source_block_id><sink_block_id>blocks_abs_xx_0_1</sink_block_id><source_key>0</source_key><sink_key>0</sink_key></connection>
<connection><source_block_id>virtual_source_0_1_0_0_0_1_0_0</source_block_id><sink_block_id>blocks_abs_xx_0_0_0</sink_block_id><source_key>0</source_key><sink_key>0</sink_key></connection>
<connection><source_block_id>virtual_source_0_1_1</source_block_id><sink_block_id>blocks_complex_to_float_0_0_0</sink_block_id><source_key>0</source_key><sink_key>0</sink_key></connection>
<connection><source_block_id>virtual_source_0_1_1_0</source_block_id><sink_block_id>blocks_complex_to_real_0</sink_block_id><source_key>0</source_key><sink_key>0</sink_key></connection>
<connection><source_block_id>virtual_source_0_1_1_0_0</source_block_id><sink_block_id>epy_block_1</sink_block_id><source_key>0</source_key><sink_key>0</sink_key></connection>
<connection><source_block_id>virtual_source_0_1_1_1</source_block_id><sink_block_id>blocks_abs_xx_0</sink_block_id><source_key>0</source_key><sink_key>0</sink_key></connection>
<connection><source_block_id>virtual_source_0_1_1_1</source_block_id><sink_block_id>qtgui_time_sink_x_0</sink_block_id><source_key>0</source_key><sink_key>0</sink_key></connection>
<connection><source_block_id>virtual_source_0_1_1_1_0</source_block_id><sink_block_id>qtgui_freq_sink_x_0_1</sink_block_id><source_key>0</source_key><sink_key>0</sink_key></connection>
<connection><source_block_id>virtual_source_0_1_1_1_0</source_block_id><sink_block_id>qtgui_time_sink_x_0_2</sink_block_id><source_key>0</source_key><sink_key>0</sink_key></connection>
<connection><source_block_id>virtual_source_0_1_1_2</source_block_id><sink_block_id>delay_0</sink_block_id><source_key>0</source_key><sink_key>0</sink_key></connection>
<connection><source_block_id>virtual_source_0_1_2</source_block_id><sink_block_id>qtgui_const_sink_x_0_0</sink_block_id><source_key>0</source_key><sink_key>0</sink_key></connection>
<connection><source_block_id>virtual_source_0_2_0_0</source_block_id><sink_block_id>blocks_multiply_const_vxx_1_2</sink_block_id><source_key>0</source_key><sink_key>0</sink_key></connection>
<connection><source_block_id>virtual_source_0_2_0_0_0</source_block_id><sink_block_id>blocks_argmax_xx_0</sink_block_id><source_key>0</source_key><sink_key>1</sink_key></connection>
<connection><source_block_id>virtual_source_0_2_0_0_0_0</source_block_id><sink_block_id>blocks_argmax_xx_0</sink_block_id><source_key>0</source_key><sink_key>3</sink_key></connection>
<connection><source_block_id>virtual_source_0_2_0_0_1</source_block_id><sink_block_id>blocks_multiply_const_vxx_1_2_0_1</sink_block_id><source_key>0</source_key><sink_key>0</sink_key></connection>
<connection><source_block_id>virtual_source_0_2_0_0_2</source_block_id><sink_block_id>blocks_multiply_const_vxx_1_0</sink_block_id><source_key>0</source_key><sink_key>0</sink_key></connection>
<connection><source_block_id>virtual_source_0_2_0_0_3</source_block_id><sink_block_id>blocks_multiply_const_vxx_1_1_0</sink_block_id><source_key>0</source_key><sink_key>0</sink_key></connection>
<connection><source_block_id>virtual_source_0_2_1</source_block_id><sink_block_id>blocks_multiply_const_vxx_1</sink_block_id><source_key>0</source_key><sink_key>0</sink_key></connection>
<connection><source_block_id>virtual_source_0_2_1_0</source_block_id><sink_block_id>blocks_argmax_xx_0</sink_block_id><source_key>0</source_key><sink_key>0</sink_key></connection>
<connection><source_block_id>virtual_source_0_2_1_0_0</source_block_id><sink_block_id>blocks_argmax_xx_0</sink_block_id><source_key>0</source_key><sink_key>2</sink_key></connection>
<connection><source_block_id>virtual_source_0_2_1_1</source_block_id><sink_block_id>blocks_multiply_const_vxx_1_2_0_0</sink_block_id><source_key>0</source_key><sink_key>0</sink_key></connection>
<connection><source_block_id>virtual_source_0_2_1_2</source_block_id><sink_block_id>blocks_multiply_const_vxx_1_2_0</sink_block_id><source_key>0</source_key><sink_key>0</sink_key></connection>
<connection><source_block_id>virtual_source_0_2_1_3</source_block_id><sink_block_id>blocks_multiply_const_vxx_1_1</sink_block_id><source_key>0</source_key><sink_key>0</sink_key></connection>
<connection><source_block_id>virtual_source_1</source_block_id><sink_block_id>delay</sink_block_id><source_key>0</source_key><sink_key>0</sink_key></connection>
</flow_graph>
